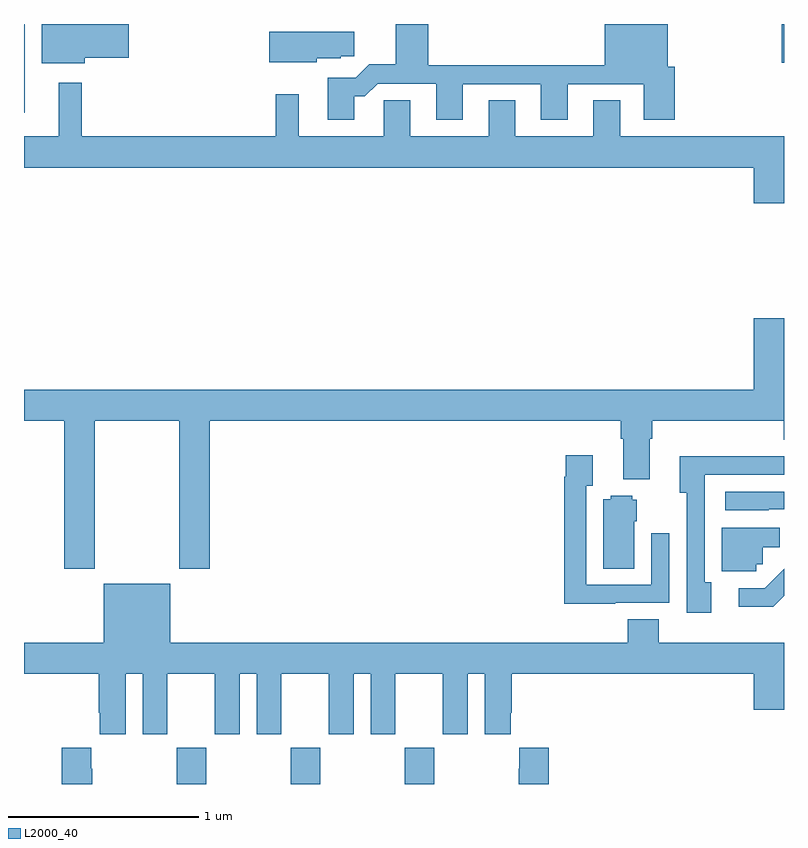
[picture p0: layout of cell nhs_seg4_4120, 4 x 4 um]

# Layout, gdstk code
import gdstk
lib = gdstk.Library(unit=1e-6, precision=1e-09)
def R(c, l, rs):  # rectangles x0, y0, x1, y1
    for r in rs: c.add(gdstk.rectangle(r[:2], r[2:], *l))
def A(c, l, x, y, w, h, nx, ny, dx, dy):  # array of equal rectangles
    R(c, l, [(x+i*dx, y+j*dy, x+i*dx+w, y+j*dy+h) for i in range(nx) for j in range(ny)])
def P(c, l, *ps):  # polygons
    for p in ps: c.add(gdstk.Polygon(p, *l))
L2000_40 = (2000, 40)

nhs_seg4_4120 = lib.new_cell('nhs_seg4_4120')
A(nhs_seg4_4120, L2000_40, 329.803, 802.9, 0.155, 0.192, 3, 1, 0.6, 0)
R(nhs_seg4_4120, L2000_40, [(329,806.433,329.005,806.9), (332.987,806.697,333,806.9)])
P(nhs_seg4_4120, L2000_40, [(329.32,806.722),(329.551,806.722),(329.551,806.9),(329.093,806.9),(329.093,806.693),(329.32,806.693)],
  [(330.739,806.519),(330.794,806.519),(330.861,806.586),(331.169,806.586),(331.169,806.397),(331.309,806.397),(331.309,806.583),(331.721,806.583),(331.721,806.397),(331.861,806.397),(331.861,806.583),(332.261,806.583),(332.261,806.397),(332.426,806.397),(332.426,806.676),(332.389,806.676),(332.389,806.9),(332.057,806.9),(332.057,806.684),(331.127,806.684),(331.127,806.9),(330.956,806.9),(330.956,806.687),(330.818,806.687),(330.747,806.616),(330.599,806.616),(330.599,806.397),(330.739,806.397)],
  [(330.54,806.72),(330.666,806.72),(330.666,806.731),(330.739,806.731),(330.739,806.86),(330.29,806.86),(330.29,806.699),(330.54,806.699)],
  [(332.137,806.498),(331.997,806.498),(331.997,806.308),(331.585,806.308),(331.585,806.498),(331.445,806.498),(331.445,806.308),(331.033,806.308),(331.033,806.498),(330.894,806.498),(330.894,806.308),(330.445,806.308),(330.445,806.53),(330.324,806.53),(330.324,806.308),(329.305,806.308),(329.305,806.59),(329.183,806.59),(329.183,806.308),(329,806.308),(329,806.144),(332.84,806.144),(332.84,805.956),(333,805.956),(333,806.308),(332.137,806.308)],
  [(329,804.812),(329.213,804.812),(329.213,804.033),(329.373,804.033),(329.373,804.812),(329.818,804.812),(329.818,804.033),(329.978,804.033),(329.978,804.812),(332.141,804.812),(332.141,804.716),(332.153,804.716),(332.153,804.503),(332.293,804.503),(332.293,804.716),(332.306,804.716),(332.306,804.812),(332.999,804.812),(332.999,804.713),(333,804.713),(333,805.351),(332.84,805.351),(332.84,804.976),(329,804.976)],
  [(332.113,803.853),(332.397,803.853),(332.397,804.22),(332.301,804.22),(332.301,803.949),(331.959,803.949),(331.959,804.47),(331.993,804.47),(331.993,804.631),(331.851,804.631),(331.851,804.518),(331.843,804.518),(331.843,803.849),(332.113,803.849)],
  [(332.617,803.962),(332.583,803.962),(332.583,804.528),(333,804.528),(333,804.624),(332.915,804.624),(332.915,804.626),(332.45,804.626),(332.45,804.434),(332.487,804.434),(332.487,803.802),(332.617,803.802)],
  [(332.921,804.345),(333,804.345),(333,804.438),(332.691,804.438),(332.691,804.342),(332.921,804.342)],
  [(332.212,804.282),(332.224,804.282),(332.224,804.396),(332.202,804.396),(332.202,804.418),(332.088,804.418),(332.088,804.4),(332.048,804.4),(332.048,804.034),(332.212,804.034)],
  [(332.853,804.057),(332.889,804.057),(332.889,804.146),(332.977,804.146),(332.977,804.249),(332.672,804.249),(332.672,804.021),(332.853,804.021)],
  [(333,803.89),(333,804.033),(332.898,803.931),(332.763,803.931),(332.763,803.834),(332.944,803.834)],
  [(332.177,803.768),(332.177,803.644),(329.77,803.644),(329.77,803.953),(329.42,803.953),(329.42,803.644),(329,803.644),(329,803.48),(329.393,803.48),(329.393,803.275),(329.399,803.275),(329.399,803.163),(329.536,803.163),(329.536,803.48),(329.624,803.48),(329.624,803.163),(329.755,803.163),(329.755,803.48),(330.005,803.48),(330.005,803.163),(330.136,803.163),(330.136,803.48),(330.224,803.48),(330.224,803.163),(330.355,803.163),(330.355,803.48),(330.605,803.48),(330.605,803.163),(330.736,803.163),(330.736,803.48),(330.824,803.48),(330.824,803.163),(330.955,803.163),(330.955,803.48),(331.205,803.48),(331.205,803.163),(331.336,803.163),(331.336,803.48),(331.424,803.48),(331.424,803.163),(331.561,803.163),(331.561,803.275),(331.568,803.275),(331.568,803.48),(332.84,803.48),(332.84,803.292),(333,803.292),(333,803.644),(332.342,803.644),(332.342,803.768)],
  [(329.358,802.979),(329.353,802.979),(329.353,803.092),(329.198,803.092),(329.198,802.9),(329.358,802.9)],
  [(331.763,803.092),(331.607,803.092),(331.607,802.979),(331.603,802.979),(331.603,802.9),(331.763,802.9)])

lib.write_gds('nhs_seg4_4120.gds')
